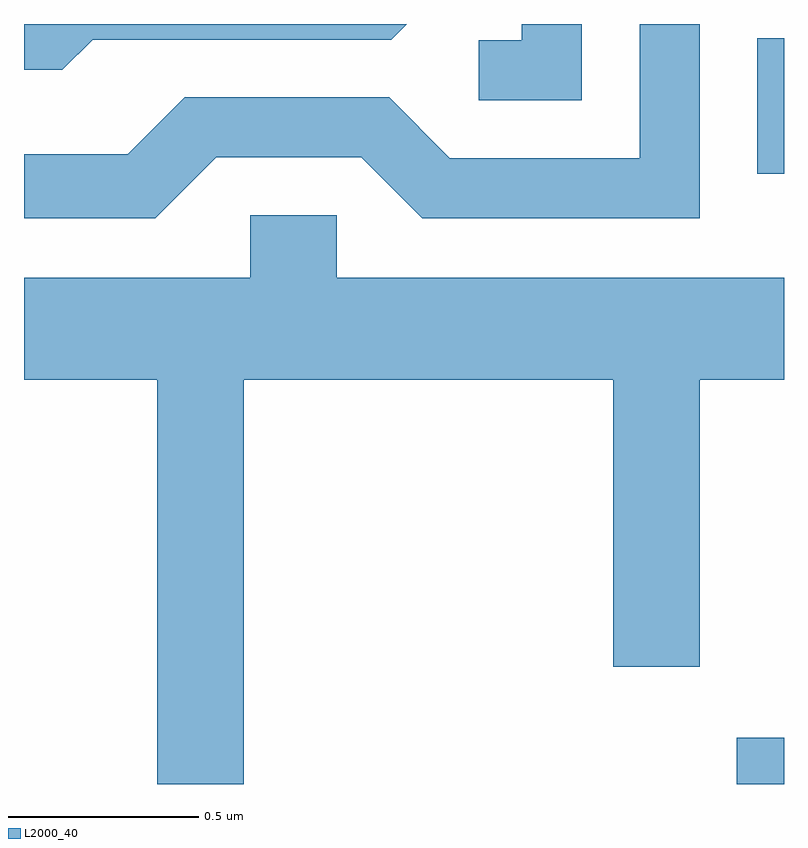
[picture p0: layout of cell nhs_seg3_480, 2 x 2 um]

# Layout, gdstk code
import gdstk
lib = gdstk.Library(unit=1e-6, precision=1e-09)
def R(c, l, rs):  # rectangles x0, y0, x1, y1
    for r in rs: c.add(gdstk.rectangle(r[:2], r[2:], *l))
def P(c, l, *ps):  # polygons
    for p in ps: c.add(gdstk.Polygon(p, *l))
L2000_40 = (2000, 40)

nhs_seg3_480 = lib.new_cell('nhs_seg3_480')
R(nhs_seg3_480, L2000_40, [(190.486,1184.892,190.611,1185.014), (190.541,1186.498,190.611,1186.854)])
P(nhs_seg3_480, L2000_40, [(190.079,1186.892),(189.921,1186.892),(189.921,1186.849),(189.808,1186.849),(189.808,1186.691),(190.079,1186.691)],
  [(188.792,1186.851),(189.577,1186.851),(189.618,1186.892),(188.611,1186.892),(188.611,1186.771),(188.712,1186.771)],
  [(189.117,1186.541),(189.499,1186.541),(189.659,1186.381),(190.389,1186.381),(190.389,1186.892),(190.231,1186.892),(190.231,1186.539),(189.732,1186.539),(189.572,1186.699),(189.034,1186.699),(188.884,1186.549),(188.611,1186.549),(188.611,1186.381),(188.957,1186.381)],
  [(189.189,1185.956),(190.161,1185.956),(190.161,1185.201),(190.389,1185.201),(190.389,1185.956),(190.611,1185.956),(190.611,1186.224),(189.434,1186.224),(189.434,1186.389),(189.206,1186.389),(189.206,1186.224),(188.611,1186.224),(188.611,1185.956),(188.961,1185.956),(188.961,1184.892),(189.189,1184.892)])

lib.write_gds('nhs_seg3_480.gds')
